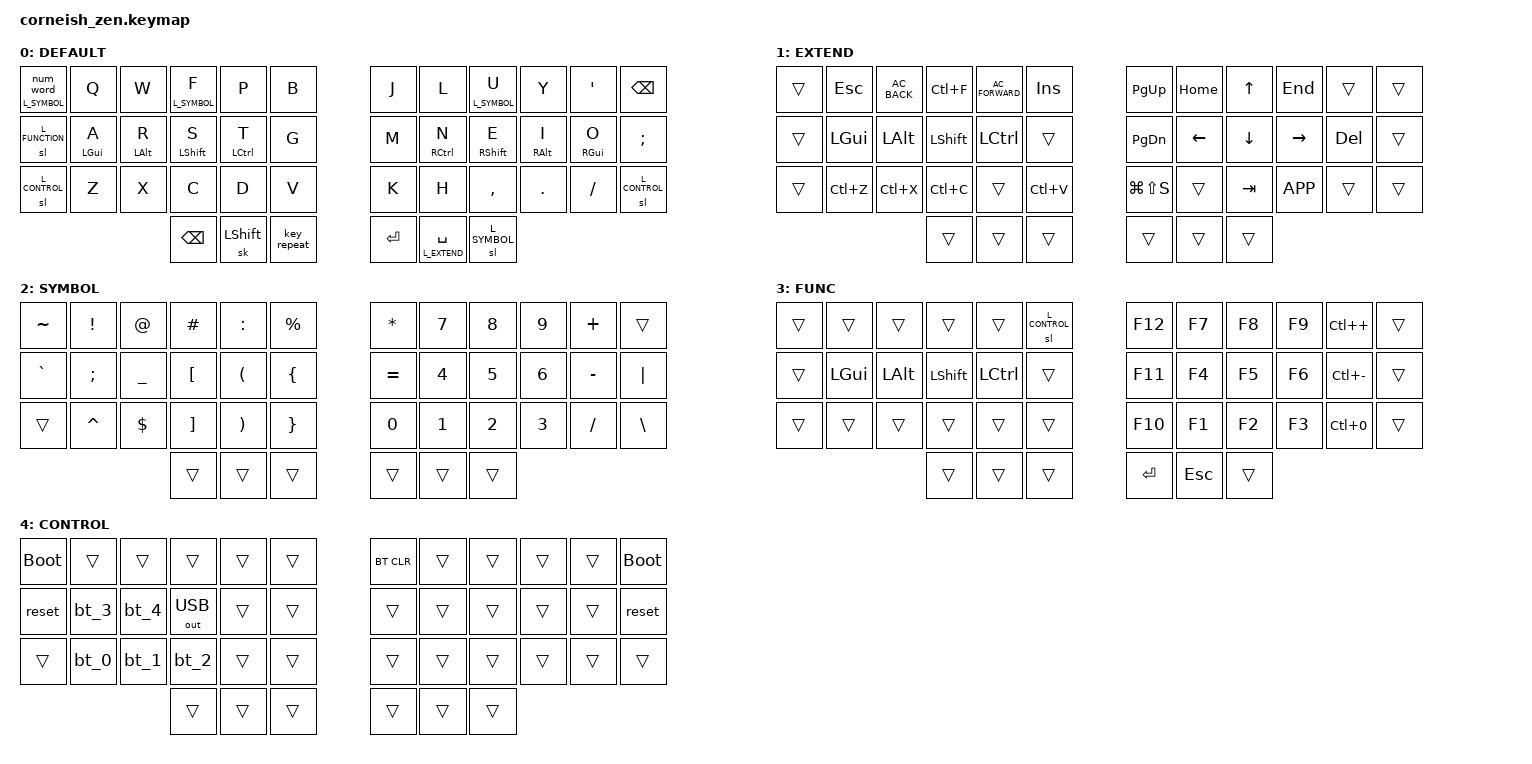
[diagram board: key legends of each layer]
/*
*
* Copyright (c) 2021 Darryl deHaan
* SPDX-License-Identifier: MIT
*
*/

#include <behaviors.dtsi>
#include <dt-bindings/zmk/keys.h>
#include <dt-bindings/zmk/bt.h>
#include <dt-bindings/zmk/outputs.h>

#include "alias_42key.h"

#define L_DEFAULT   0
#define L_EXTEND    1
#define L_SYMBOL    2
#define L_FUNCTION  3
// #define L_WORDS     4
#define L_CONTROL   4

#define QUICK_TAP_MS 175

&num_word {  // num-word, requires PR #1441
    layers = <L_SYMBOL>;
};

&lt {
        flavor = "balanced";
        tapping-term-ms = <200>;
        quick-tap-ms = <QUICK_TAP_MS>;
};

&sl {
        ignore-modifiers;
};

/ {
  chosen {
    zmk,matrix_transform = &default_transform;
    //zmk,matrix_transform = &five_column_transform;
  };
};

   // The best home row mod (HRM) experience I've found comes with combining
    // a long "tapping term" with the new "require prior idle" setting in
    // ZMK's PR #1387. Using this feature, rapid typing does not generate
    // accidental modifiers, but when you've been idle for a certain amount
    // of time, you can easily trigger home row modifiers without waiting
    // forever and a day.
    //
    // For another layer of safety, I also use the "hold trigger key positions"
    // feature. This prevents the quick-tap behavior from firing with other
    // keys on the same side of the keyboard. In essense, to type Ctrl+A, I
    // must use the Ctrl key on the right half of the keyboard, since A is on
    // the left half of the keyboard.
    //
    // Combining these two settings is honestly magical. Home row mods have
    // never felt better.
    //
    // References:
    // * https://zmk.dev/docs/behaviors/hold-tap#require-prior-idle-ms
    // * https://zmk.dev/docs/behaviors/hold-tap#positional-hold-tap-and-hold-trigger-key-positions
    // * https://github.com/urob/zmk-config?tab=readme-ov-file#timeless-homerow-mods

    // Tap/hold behavior style
    // "holdiepreferred", "balanced", "tapiepreferred", "tap-unless-interrupted"
    #define HRM_BEHAVIOR "balanced"

    // This is intentonally very large because of the interaction with
    // require-prior-idle-ms. Basically, holding a key longer than this
    // delay allows combos that don't respect the hold-trigger-key-positions
    // setting, so it needs to be pretty large to prevent unintentional
    // holds.
    #define HRM_TAPPING_TERM_MS 280

    // If pressing any other key before a HRM key within this window,
    // the tap/hold configuration will be completely ignored and the
    // key will always be treated as a tap. This prevents a
    // long tapping-term-ms from feeling sluggish.
    // Introduced in ZMK PR #1387
    #define HRM_REQUIRE_PRIOR_IDLE_MS 150

    // Double-tap the key within this window to hold that keystroke
    // (instead of holding the modifier, press and hold the key, like
    // jjjjjjjjjjjjjjjjjjjjjjjjjjjjj)
    #define HRM_QUICK_TAP_MS 175

    // Combo configuration
    // -------------------

    // General combo timer - press both keys in this window to activate
    // a combo
    #define COMBO_TIMEOUT_MS 50

    // Combo values for the home row should be a bit tigher to prevent
    // misfires
    #define COMBO_TIMEOUT_MS_SHORT 35

    #define MACRO_WAIT_MS 30
    #define MACRO_TAP_MS 30

/ {

        behaviors {
                hml: homerow_mods_left {
                        compatible = "zmk,behavior-hold-tap";
                        label = "HOMEROW_MODS_LEFT";
                        flavor = HRM_BEHAVIOR;
                        tapping-term-ms = <HRM_TAPPING_TERM_MS>;
                        quick-tap-ms = <HRM_QUICK_TAP_MS>;
                        global-quick-tap-ms = <150>;   // requires PR #1387
                        hold-trigger-key-positions = <KEYS_RIGHT_SIDE KEYS_THUMBS>;
                        hold-trigger-on-release;       // requires PR #1423
                        #binding-cells = <2>;
                        bindings = <&kp>, <&kp>;
                };

                hmr: homerow_mods_right {
                        compatible = "zmk,behavior-hold-tap";
                        label = "HOMEROW_MODS_RIGHT";
                        flavor = HRM_BEHAVIOR;
                        tapping-term-ms = <HRM_TAPPING_TERM_MS>;
                        quick-tap-ms = <HRM_QUICK_TAP_MS>;
                        global-quick-tap-ms = <150>;   // requires PR #1387
                        hold-trigger-key-positions = <KEYS_LEFT_SIDE KEYS_THUMBS>;
                        hold-trigger-on-release;       // requires PR #1423
                        #binding-cells = <2>;
                        bindings = <&kp>, <&kp>;
                };

                hll: homerow_layer_left {
                        compatible = "zmk,behavior-hold-tap";
                        label = "HOMEROW_LAYER_LEFT";
                        flavor = HRM_BEHAVIOR;
                        tapping-term-ms = <HRM_TAPPING_TERM_MS>;
                        quick-tap-ms = <HRM_QUICK_TAP_MS>;
                        global-quick-tap-ms = <150>;   // requires PR #1387
                        hold-trigger-key-positions = <KEYS_RIGHT_SIDE KEYS_THUMBS>;
                        hold-trigger-on-release;       // requires PR #1423
                        #binding-cells = <2>;
                        bindings = <&mo>, <&kp>;
                };

                hlr: homerow_layer_right {
                        compatible = "zmk,behavior-hold-tap";
                        label = "HOMEROW_LAYER_RIGHT";
                        flavor = HRM_BEHAVIOR;
                        tapping-term-ms = <HRM_TAPPING_TERM_MS>;
                        quick-tap-ms = <HRM_QUICK_TAP_MS>;
                        global-quick-tap-ms = <150>;   // requires PR #1387
                        hold-trigger-key-positions = <KEYS_LEFT_SIDE KEYS_THUMBS>;
                        hold-trigger-on-release;       // requires PR #1423
                        #binding-cells = <2>;
                        bindings = <&mo>, <&kp>;
                };

                num_word_layer: behavior_num_word_layer {
                        // This creates a tap/hold behavior where tapping
                        // activates numword and holding is a temporary layer
                        // shift to numbers.
                        //
                        // Requires PR #1451.
                        //
                        // The first binding (param) to this behavior will be
                        // the momentary layer, and the second binding is
                        // ignored (but required by the underlying
                        // hold-tap behavior).
                        //
                        // Make sure to initialize the num-word behavior
                        // in the configuration.
                        compatible = "zmk,behavior-hold-tap";
                        label = "NUM_WORD_LAYER";
                        #binding-cells = <2>;
                        bindings = <&mo>, <&num_word>;
                        tapping-term-ms = <200>;
                        quick-tap-ms = <QUICK_TAP_MS>;
                };
        };

        macros {
                // Bluetooth selection macros are lovingly adapted from the
                // MoErgo Glove80 ZMK repo (MIT licensed):
                // https://github.com/moergo-sc/glove80-zmk-config/blob/main/config/glove80.keymap
                ZMK_MACRO(bt_0,
                          bindings
                              = <&out OUT_BLE>
                              , <&bt BT_SEL 0>
                              ;
                )

                ZMK_MACRO(bt_1,
                          bindings
                              = <&out OUT_BLE>
                              , <&bt BT_SEL 1>
                              ;
                )

                ZMK_MACRO(bt_2,
                          bindings
                              = <&out OUT_BLE>
                              , <&bt BT_SEL 2>
                              ;
                )

                ZMK_MACRO(bt_3,
                          bindings
                              = <&out OUT_BLE>
                              , <&bt BT_SEL 3>
                              ;
                )

                ZMK_MACRO(bt_4,
                          bindings
                              = <&out OUT_BLE>
                              , <&bt BT_SEL 4>
                              ;
                )

                ZMK_MACRO(digraph_kn,
                        wait-ms = <MACRO_WAIT_MS>;
                        tap-ms = <MACRO_TAP_MS>;
                        bindings = <&kp K &kp N>;
                )

                ZMK_MACRO(digraph_qu,
                        wait-ms = <MACRO_WAIT_MS>;
                        tap-ms = <MACRO_TAP_MS>;
                        bindings = <&kp Q &kp U>;
                )

                ZMK_MACRO(digraph_ue,
                        wait-ms = <MACRO_WAIT_MS>;
                        tap-ms = <MACRO_TAP_MS>;
                        bindings = <&kp U &kp E>;
                )

                ZMK_MACRO(digraph_ch,
                        wait-ms = <MACRO_WAIT_MS>;
                        tap-ms = <MACRO_TAP_MS>;
                        bindings = <&kp C &kp H>;
                )

                ZMK_MACRO(digraph_sh,
                        wait-ms = <MACRO_WAIT_MS>;
                        tap-ms = <MACRO_TAP_MS>;
                        bindings = <&kp S &kp H>;
                )

                ZMK_MACRO(digraph_th,
                        wait-ms = <MACRO_WAIT_MS>;
                        tap-ms = <MACRO_TAP_MS>;
                        bindings = <&kp T &kp H>;
                )

                ZMK_MACRO(symbol_double_equal,
                        wait-ms = <MACRO_WAIT_MS>;
                        tap-ms = <MACRO_TAP_MS>;
                        bindings = <&kp EQUAL &kp EQUAL>;
                )

                ZMK_MACRO(symbol_not_equal,
                        wait-ms = <MACRO_WAIT_MS>;
                        tap-ms = <MACRO_TAP_MS>;
                        bindings = <&kp LS(N1) &kp EQUAL &kp EQUAL>;
                )

//                 ZMK_MACRO(word_and,
//                         wait-ms = <30>;
//                         tap-ms = <30>;
//                         bindings = <&kp A &kp N &kp D>;
//                 )
//
//                 ZMK_MACRO(word_the,
//                         wait-ms = <30>;
//                         tap-ms = <30>;
//                         bindings = <&kp T &kp H &kp E>;
//                 )
//
//                 ZMK_MACRO(word_git,
//                         wait-ms = <30>;
//                         tap-ms = <30>;
//                         bindings = <&kp G &kp I &kp T>;
//                 )
//
//                 ZMK_MACRO(word_poetry,
//                         wait-ms = <30>;
//                         tap-ms = <30>;
//                         bindings = <&kp P &kp O &kp E &kp T &kp R &kp Y>;
//                 )
//
//                 ZMK_MACRO(word_class,
//                         wait-ms = <30>;
//                         tap-ms = <30>;
//                         bindings = <&kp C &kp L &kp A &kp S &kp S>;
//                 )
//
//                 ZMK_MACRO(word_def,
//                         wait-ms = <30>;
//                         tap-ms = <30>;
//                         bindings = <&kp D &kp E &kp F>;
//                 )
//
//                 ZMK_MACRO(word_true,
//                         wait-ms = <30>;
//                         tap-ms = <30>;
//                         bindings
//                                 = <&macro_press &kp LSHIFT>
//                                 , <&macro_tap &kp T>
//                                 , <&macro_release &kp LSHIFT>
//                                 , <&macro_tap &kp R &kp U &kp E>;
//                 )
//
//                 ZMK_MACRO(word_false,
//                         wait-ms = <30>;
//                         tap-ms = <30>;
//                         bindings
//                                 = <&macro_press &kp LSHIFT>
//                                 , <&macro_tap &kp F>
//                                 , <&macro_release &kp LSHIFT>
//                                 , <&macro_tap &kp A &kp L &kp S &kp E>;
//                 )
         };

#include "combos.dtsi"

        keymap {
                compatible = "zmk,keymap";

                default_layer {
                        label = "DEFAULT";
                        bindings = <
   &num_word_layer L_SYMBOL 0 &kp Q       &kp W       &hll L_SYMBOL F &kp P         &kp B                           &kp J               &kp L        &hlr L_SYMBOL U &kp Y       &kp SQT     &kp BSPC
   &sl L_FUNCTION             &hml LGUI A &hml LALT R &hml LSHFT S    &hml LCTRL T  &kp G                           &kp M               &hmr RCTRL N &hmr RSHFT E     &hmr RALT I &hmr RGUI O &kp SEMI
   &sl L_CONTROL              &kp Z       &kp X       &kp C           &kp D         &kp V                           &kp K               &kp H        &kp COMMA        &kp DOT     &kp FSLH    &sl L_CONTROL
                                                                      &kp BSPC      &sk LSHFT &key_repeat &kp ENTER &lt L_EXTEND SPACE  &sl L_SYMBOL
                        >;
                };

                extend_layer {
                        label = "EXTEND";
                        bindings = <
    &trans  &kp ESC   &kp C_AC_BACK &kp LC(F) &kp C_AC_FORWARD &kp INS                       &kp PG_UP     &kp HOME &kp UP    &kp END   &trans    &trans
    &trans  &kp LGUI  &kp LALT      &kp LSHFT &kp LCTRL        &trans                        &kp PG_DN     &kp LEFT &kp DOWN  &kp RIGHT &kp DEL   &trans
    &trans  &kp LC(Z) &kp LC(X)     &kp LC(C) &trans           &kp LC(V)                     &kp LG(LS(S)) &trans   &kp TAB   &kp K_APP &trans    &trans
                                                &trans           &trans    &trans    &trans    &trans &trans
                        >;
                };

                symbol_layer {
                        label = "SYMBOL";
                        bindings = <
    &kp TILDE &kp EXCL  &kp AT    &kp HASH &kp COLON &kp PRCNT                  &kp STAR  &kp N7   &kp N8   &kp N9   &kp PLUS  &trans
    &kp GRAVE &kp SEMI  &kp UNDER &kp LBKT &kp LPAR  &kp LBRC                   &kp EQUAL &kp N4   &kp N5   &kp N6   &kp MINUS &kp PIPE
    &trans    &kp CARET &kp DLLR  &kp RBKT &kp RPAR  &kp RBRC                   &kp N0    &kp N1   &kp N2   &kp N3   &kp FSLH  &kp BSLH
                                          &trans    &trans   &trans   &trans    &trans    &trans
                        >;
                };

                function_layer {
                        label = "FUNC";
                        bindings = <
    &trans   &trans   &trans   &trans    &trans    &sl L_CONTROL               &kp F12   &kp F7   &kp F8   &kp F9   &kp LC(PLUS)  &trans
    &trans   &kp LGUI &kp LALT &kp LSHFT &kp LCTRL &trans                      &kp F11   &kp F4   &kp F5   &kp F6   &kp LC(MINUS) &trans
    &trans   &trans   &trans   &trans    &trans    &trans                      &kp F10   &kp F1   &kp F2   &kp F3   &kp LC(0)     &trans
                                         &trans    &trans   &trans   &kp ENTER &kp ESC   &trans
                        >;
                };

//                 words_layer {
//                         label = "WORDS";
//                         bindings = <
//     &trans   &trans   &trans   &trans    &trans    &trans                     &trans   &word_def  &word_class  &trans   &trans   &trans
//     &trans   &trans   &trans   &word_and &word_the &trans                     &trans   &word_true &word_false  &trans   &trans   &trans
//     &trans   &trans   &trans   &trans    &trans    &trans                     &trans   &word_git  &word_poetry &trans   &trans   &trans
//                                          &trans    &trans   &trans   &trans   &trans   &trans
//                         >;
//                 };

                control_layer {
                        label = "CONTROL";
                        bindings = <
    &bootloader &trans       &trans       &trans       &trans       &trans                         &bt BT_CLR &trans   &trans   &trans   &trans   &bootloader
    &reset      &bt_3        &bt_4        &out OUT_USB &trans       &trans                         &trans     &trans   &trans   &trans   &trans   &reset
    &trans      &bt_0        &bt_1        &bt_2        &trans       &trans                         &trans     &trans   &trans   &trans   &trans   &trans
                                                       &trans       &trans       &trans   &trans   &trans     &trans
                        >;
                };
        };

//                 template {
//                         label = "EXTEND";
//                         bindings = <
//     &trans   &trans   &trans   &trans   &trans   &trans                     &trans   &trans   &trans   &trans   &trans   &trans
//     &trans   &trans   &trans   &trans   &trans   &trans                     &trans   &trans   &trans   &trans   &trans   &trans
//     &trans   &trans   &trans   &trans   &trans   &trans                     &trans   &trans   &trans   &trans   &trans   &trans
//                                         &trans   &trans   &trans   &trans   &trans   &trans
//                         >;
//                 };
};
